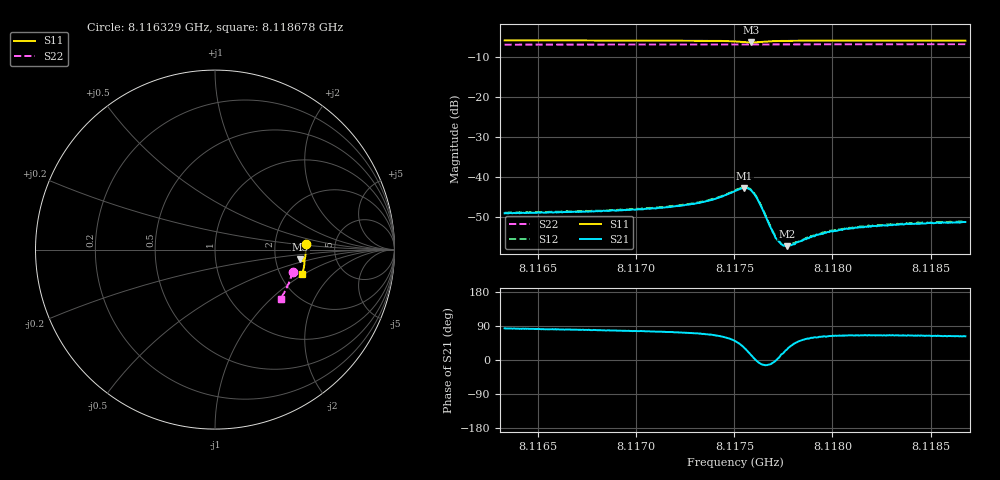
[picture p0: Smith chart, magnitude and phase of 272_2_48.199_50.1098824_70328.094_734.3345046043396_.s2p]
#  HZ  S  RI  R  50.00
! Rohde & Schwarz Vector Network Analyzer
! Rohde-Schwarz,ZNB20-2Port,1311601062101988,3.16
! Created: UTC 3/20/2024, 11:48:13 AM
! freq[Hz]  re:S11  im:S11  re:S21  im:S21  re:S12  im:S12  re:S22  im:S22
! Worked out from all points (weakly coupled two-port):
!   401 points, 8.116329 GHz to 8.118678 GHz, reference 50 ohm
!   highest |S21| = -42.68 dB at 8.11755 GHz (marker M1); lowest = -57.2 dB at 8.117767 GHz (marker M2)
!   lowest |S11| = -6.4 dB at 8.117585 GHz (marker M3), VSWR 2.83, Z = 138 - j19.5 ohm
!   |S11| at or under -10 dB: nowhere
!   |S22| runs from -6.9 to -6.8 dB; largest |S21 - S12| = 0.00019
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8.116329e9  0.5057 0.0337  0.000393 0.00353  0.000485 0.00357  0.4318 -0.124
8.1167224e9  0.5063 0.00374  0.000672 0.00364  0.000731 0.00371  0.4246 -0.1504
8.1171157e9  0.5047 -0.027  0.00111 0.00399  0.00113 0.00408  0.4156 -0.1761
8.1172155e9  0.5037 -0.0355  0.0013 0.00419  0.0013 0.00424  0.4129 -0.1827
8.1173447e9  0.5011 -0.0471  0.00177 0.00459  0.00187 0.00466  0.4096 -0.1911
8.117421e9  0.4978 -0.055  0.00249 0.00498  0.00259 0.00505  0.4074 -0.1961
8.1175032e9  0.4891 -0.0631  0.00433 0.00518  0.00445 0.00523  0.4048 -0.2015
8.1175502e9  0.4793 -0.0624  0.00621 0.00391  0.00638 0.00395  0.4029 -0.2041
8.1175678e9  0.4761 -0.0591  0.00668 0.00286  0.00684 0.00283  0.4024 -0.2049
8.1175854e9  0.4751 -0.0544  0.00672 0.00151  0.00684 0.00146  0.4019 -0.2058
8.1176031e9  0.4768 -0.0495  0.00611 0.000302  0.00622 0.000232  0.4015 -0.2067
8.1176207e9  0.4806 -0.0465  0.00514 -0.000506  0.00525 -0.000534  0.4011 -0.2076
8.1176853e9  0.4931 -0.0496  0.00232 -0.000443  0.00232 -0.000473  0.4 -0.2117
8.1177146e9  0.4957 -0.0533  0.00172 5e-06  0.00179 1.44e-06  0.3991 -0.2137
8.117744e9  0.4973 -0.0571  0.00138 0.000405  0.00143 0.000413  0.3983 -0.2158
8.1177675e9  0.498 -0.0599  0.00123 0.000634  0.00128 0.000677  0.3975 -0.2173
8.1177968e9  0.4986 -0.0632  0.00111 0.000946  0.00114 0.000971  0.3965 -0.219
8.1178966e9  0.4987 -0.0732  0.00095 0.00155  0.000947 0.00158  0.3936 -0.2255
8.1179847e9  0.4979 -0.081  0.000929 0.00185  0.000958 0.00192  0.3907 -0.231
8.1180669e9  0.4971 -0.0878  0.000973 0.00206  0.00102 0.00211  0.3879 -0.2362
8.11829e9  0.4937 -0.1052  0.00104 0.0023  0.00108 0.00232  0.3801 -0.2497
8.1186775e9  0.4865 -0.1339  0.00127 0.00245  0.00128 0.00252  0.3653 -0.2725
